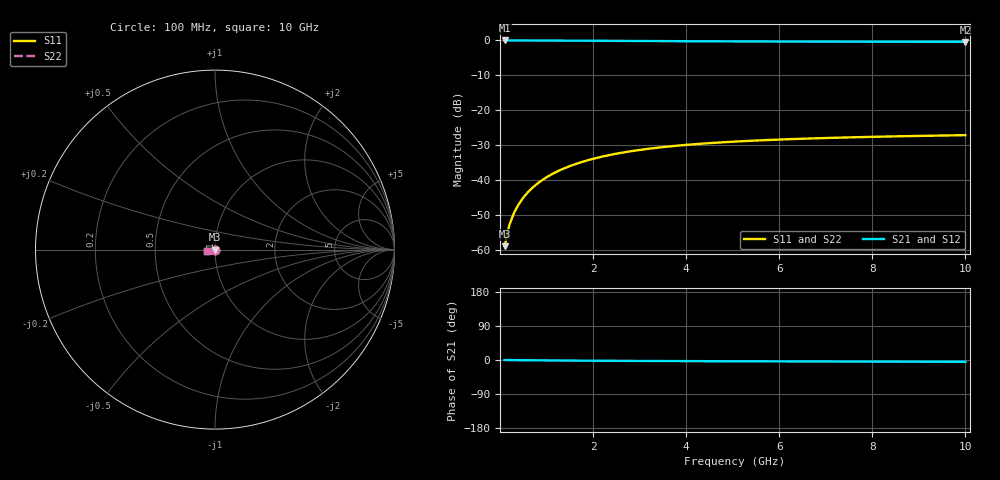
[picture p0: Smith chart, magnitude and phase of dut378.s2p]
! Touchstone file exported from HFSS 2024.1.0
!  File:  C:/UserFiles/LocalFiles/RDL_TSV_Batchsim/temp_TSV1_378_1779622596.aedt
!  Generated:  07:42:44 PM May 24, 2026
!  Design:  TSV1
!  Project:  temp_TSV1_378_1779622596
!  Setup:  Setup1
!  Solution:  Sweep
! Variables:
!  dtsv = 9.45um
!  hbump = 3um
!  htsv = 74.81um
!  lrdl = 252.1521522um
!  p = 40
!  p1 = 42.67um
!  t = 500um
!  trdl = 3um
!  wrdl = 24.89489489um
# GHz S MA R 50.000000
! Terminal data exported
! Port[1] = TSV22_T1
! Port[2] = TSV22_T2
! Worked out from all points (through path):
!   100 points, 100 MHz to 10 GHz, reference 50 ohm
!   highest |S21| = 0.00 dB at 100 MHz (marker M1); lowest = -0.4 dB at 10 GHz (marker M2)
!   lowest |S11| = -59.0 dB at 100 MHz (marker M3), VSWR 1.00, Z = 50 - j0.112 ohm
!   |S11| at or under -10 dB: start of sweep to end of sweep
!   |S22| runs from -59.0 to -27.2 dB; largest |S21 - S12| = 3.3e-15
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0.1  0.001126 -83.5  0.9998 -0.1  0.9998 -0.1  0.001126 -83.5
! Gamma 0 0 0 0
! Port Impedance 50 0 50 0
0.2  0.002239 -88.9  0.9997 -0.2  0.9997 -0.2  0.002239 -88.9
0.3  0.003356 -91.8  0.9995 -0.3  0.9995 -0.3  0.003356 -91.8
0.4  0.004471 -94.0  0.9993 -0.4  0.9993 -0.4  0.004471 -94.0
0.5  0.005579 -96.0  0.999 -0.5  0.999 -0.5  0.005579 -96.0
0.6  0.006677 -97.9  0.9987 -0.7  0.9987 -0.7  0.006677 -97.9
0.7  0.007762 -99.7  0.9983 -0.8  0.9983 -0.8  0.007762 -99.7
0.8  0.008832 -101.4  0.9978 -0.9  0.9978 -0.9  0.008833 -101.4
0.9  0.009887 -103.0  0.9973 -1.0  0.9973 -1.0  0.009887 -103.0
1.1  0.01194 -106.2  0.9962 -1.1  0.9962 -1.1  0.01194 -106.2
1.4  0.01487 -110.8  0.9943 -1.4  0.9943 -1.4  0.01487 -110.8
1.6  0.01671 -113.7  0.9928 -1.6  0.9928 -1.6  0.01671 -113.7
1.8  0.01845 -116.5  0.9913 -1.8  0.9913 -1.8  0.01845 -116.5
2.1  0.02088 -120.4  0.989 -2.0  0.989 -2.0  0.02088 -120.4
2.5  0.0238 -125.3  0.9858 -2.2  0.9858 -2.2  0.0238 -125.3
2.9  0.02636 -129.8  0.9827 -2.5  0.9827 -2.5  0.02636 -129.8
3.4  0.0291 -134.9  0.9791 -2.7  0.9791 -2.7  0.0291 -134.9
4.2  0.03263 -141.9  0.9739 -3.0  0.9739 -3.0  0.03263 -141.9
5.1  0.03565 -148.6  0.9691 -3.3  0.9691 -3.3  0.03565 -148.6
6.7  0.0394 -158.1  0.9627 -3.8  0.9627 -3.8  0.0394 -158.1
8.4  0.04206 -166.0  0.9581 -4.3  0.9581 -4.3  0.04206 -166.0
10  0.04389 -172.1  0.9551 -4.8  0.9551 -4.8  0.04389 -172.1
